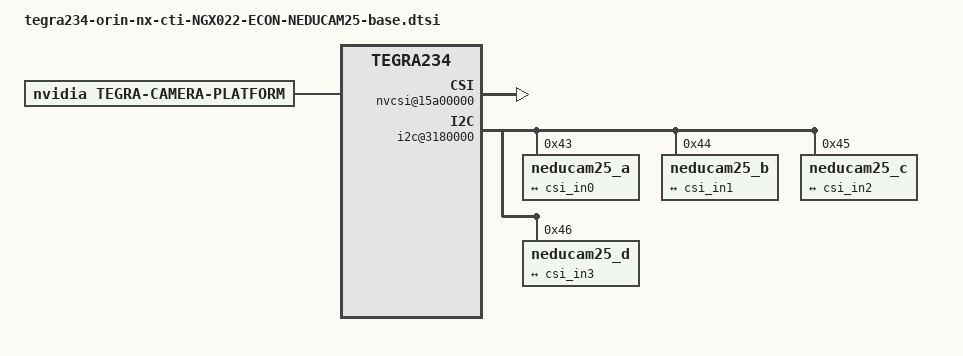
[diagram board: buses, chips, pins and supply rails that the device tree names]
/*
 * Copyright (c) 2024, Connect Tech Inc.  All rights reserved.
 *
 * This program is free software; you can redistribute it and/or modify it
 * under the terms and conditions of the GNU General Public License,
 * version 2, as published by the Free Software Foundation.
 *
 * This program is distributed in the hope it will be useful, but WITHOUT
 * ANY WARRANTY; without even the implied warranty of MERCHANTABILITY or
 * FITNESS FOR A PARTICULAR PURPOSE.  See the GNU General Public License for
 * more details.
 *
 * You should have received a copy of the GNU General Public License
 * along with this program.  If not, see <http://www.gnu.org/licenses/>.
 */

#include "dt-bindings/clock/tegra234-clock.h"
#include "tegra234-orin-nx-cti-econ-neducam25-modes-header.dtsi"

//To do add device tree parameter to allow for remote switching of reset pin... Required for NGX022!

#define VC_ID0 "0"
#define VC_ID1 "1"
#define VC_ID0_PORTS 0 
#define VC_ID1_PORTS 1
#define NUM_LANES "4"
/ {
    tegra-capture-vi {
        status = "okay";
        num-channels = <4>;
        ports {
	    #address-cells = <1>;
	    #size-cells = <0>;
	    status = "okay";
            port@0 {
		reg = <0>;
                status = "okay";
                vi_in0: endpoint {
		            vc-id = <VC_ID0_PORTS>;
                    port-index = <2>;
                    status = "okay";
                    bus-width = <4>;
		    remote-endpoint = <&csi_out0>;
                };
            };
            port@1 {
                status = "okay";
                reg = <1>;
                vi_in1: endpoint {
                    vc-id = <VC_ID1_PORTS>;
                    port-index = <2>;
                    status = "okay";
                    bus-width = <4>;
                    remote-endpoint = <&csi_out1>;
                };
            };
            port@2 {
                status = "okay";
                reg = <2>;
                vi_in2: endpoint {
                    vc-id = <VC_ID0_PORTS>;
                    port-index = <0>;
                    status = "okay";
                    bus-width = <4>;
                    remote-endpoint = <&csi_out2>;
                };
                
            };
            port@3 {
                status = "okay";
                reg = <3>;
                vi_in3: endpoint {
                    vc-id = <VC_ID1_PORTS>;
                    port-index = <0>;
                    status = "okay";
                    bus-width = <4>;
                    remote-endpoint = <&csi_out3>;
                };

            };


    };
    };

    host1x@13e00000 {
        nvcsi@15a00000 {
	    num-channels = <4>;
	    #address-cells = <1>;
	    #size-cells = <0>;
            status = "okay";
            channel@0 {
                status = "okay";
		        reg = <0>;
                ports {
		            #address-cells = <1>;
		            #size-cells = <0>;
                    port@0 {
                        status = "okay";
		            	reg = <0>;
                        csi_in0: endpoint@0 {
                            status = "okay";
                            port-index = <2>;
			                bus-width = <4>;
                            remote-endpoint = <&cam_out0>;
                        };
                    };
                    port@1 {
                        status = "okay";
		            	reg = <1>;
                        csi_out0: endpoint@1 {
                            status = "okay";
			                port-index = <2>;
			                bus-width = <4>;
			                remote-endpoint = <&vi_in0>;
                        };
                    };
                };
            };
            channel@1 {
                status = "okay";
            reg = <1>;
            ports {
                #address-cells = <1>;
                #size-cells = <0>;

                port@0 {
                            reg = <0>;
                            status = "okay";
                            csi_in1: endpoint@2 {
                                status = "okay";
                                port-index = <2>;
                                bus-width = <4>;
                                remote-endpoint = <&cam_out1>;
                            };
                        };
                        port@1 {
                            status = "okay";
                              reg = <1>;
                            csi_out1: endpoint@3 {
                                status = "okay";
                    port-index = <2>;
                    bus-width = <4>;
                    remote-endpoint = <&vi_in1>;
                            };
                        };
                    };
                };
            channel@2 {
                status = "okay";
            reg = <2>;
            ports {
                #address-cells = <1>;
                #size-cells = <0>;

                port@0 {
                            reg = <0>;
                            status = "okay";
                            csi_in2: endpoint@4 {
                                status = "okay";
                                port-index = <0>;
                                bus-width = <4>;
                                remote-endpoint = <&cam_out2>;
                            };
                        };
                        port@1 {
                            status = "okay";
                              reg = <1>;
                            csi_out2: endpoint@5 {
                                status = "okay";
                    port-index = <0>;
                    bus-width = <4>;
                    remote-endpoint = <&vi_in2>;
                            };
                        };
                    };
                };
            channel@3{
                status = "okay";
            reg = <3>;
            ports {
                #address-cells = <1>;
                #size-cells = <0>;

                port@0 {
                            reg = <0>;
                            status = "okay";
                            csi_in3: endpoint@6 {
                                status = "okay";
                                port-index = <0>;
                                bus-width = <4>;
                                remote-endpoint = <&cam_out3>;
                            };
                        };
                        port@1 {
                            status = "okay";
                              reg = <1>;
                            csi_out3: endpoint@7 {
                                status = "okay";
                    port-index = <0>;
                    bus-width = <4>;
                    remote-endpoint = <&vi_in3>;
                            };
                        };
                    };
                };

            };
    };


    i2c@3180000 {
        status = "okay";
        #address-cells = <1>;
        #size-cells = <0>;
        neducam25_a@43 {
            SENSOR_COMMON
            devnode = "video0";
            reg = <0x43>;
            software-reset-en; //use software reset instead of hardware reset
            camera_mipi_lanes = <4>;
            deser-addr = <0x30>;
            ser-alias = <0x21>;
            expander-alias = <0x50>;
            sio-port = "A";

#define TEGRA_SINTERFACE "serial_c" 
#define LANE_POLARITY   "0"
#define LOCAL_VC_ID VC_ID0
            
            SENSOR_MODE0
            SENSOR_MODE1
            SENSOR_MODE2

            ports{
                #address-cells = <1>;
                #size-cells = <0>;
                port@0 {
                    reg = <0>;
                    cam_out0: endpoint {
                        port-index = <2>;
                        bus-width = <4>;
                        vc-id = <0>;
                        remote-endpoint = <&csi_in0>;
                    };
                };
            };
        };
        neducam25_b@44 {
            SENSOR_COMMON
            devnode = "video1";
            reg = <0x44>;
            software-reset-en; //use software reset instead of hardware reset
            camera_mipi_lanes = <4>;
            deser-addr = <0x30>;
            ser-alias = <0x22>;
            expander-alias = <0x51>;
            sio-port = "B";

#undef LOCAL_VC_ID
#define LOCAL_VC_ID VC_ID1

                SENSOR_MODE0
                SENSOR_MODE1
                SENSOR_MODE2


            ports{
                #address-cells = <1>;
                #size-cells = <0>;
                port@0 {
                    reg = <0>;
                    cam_out1: endpoint {
                        port-index = <2>;
                        bus-width = <4>;
                        vc-id = <1>;
                        remote-endpoint = <&csi_in1>;
                    };
                };
            };
        };

        neducam25_c@45 {
            SENSOR_COMMON
            devnode = "video2";
            reg = <0x45>;
            software-reset-en; //use software reset instead of hardware reset
            camera_mipi_lanes = <4>;
            deser-addr = <0x34>;
            ser-alias = <0x23>;
            expander-alias = <0x52>;
            sio-port = "A";

#undef LOCAL_VC_ID
#define LOCAL_VC_ID VC_ID0
#undef TEGRA_SINTERFACE
#undef LANE_POLARITY
#define TEGRA_SINTERFACE "serial_a" 
#define LANE_POLARITY "6"
                SENSOR_MODE0
                SENSOR_MODE1
                SENSOR_MODE2


            ports{
                #address-cells = <1>;
                #size-cells = <0>;
                port@0 {
                    reg = <0>;
                    cam_out2: endpoint {
                        port-index = <0>;
                        bus-width = <4>;
                        vc-id = <0>;
                        remote-endpoint = <&csi_in2>;
                    };
                };
            };
        };
        neducam25_d@46 {
            SENSOR_COMMON
            devnode = "video3";
            reg = <0x46>;
            software-reset-en; //use software reset instead of hardware reset
            camera_mipi_lanes = <4>;
            deser-addr = <0x34>;
            ser-alias = <0x24>;
            expander-alias = <0x53>;
            sio-port = "B";

#undef LOCAL_VC_ID
#define LOCAL_VC_ID VC_ID1

                SENSOR_MODE0
                SENSOR_MODE1
                SENSOR_MODE2

            ports{
                #address-cells = <1>;
                #size-cells = <0>;
                port@0 {
                    reg = <0>;
                    cam_out3: endpoint {
                        port-index = <0>;
                        bus-width = <4>;
                        vc-id = <1>;
                        remote-endpoint = <&csi_in3>;
                    };
                };
            };
        };
         

    };



    tegra-camera-platform {
        num_csi_lanes = <8>;
        max_lane_speed = <1500000>;
        min_bits_per_pixel = <10>;
        vi_peak_byte_per_pixel = <2>;
        vi_bw_margin_pct = <25>;
        isp_peak_byte_per_pixel = <5>;
        isp_bw_margin_pct = <25>;
	compatible = "nvidia, tegra-camera-platform";
	status = "okay";
        
	modules {
        module0 {
            status = "okay";
            badge = "neducam25_top";
            position = "top";
            orientation = "1";
            drivernode0 {
                status = "okay";
                pcl_id = "v4l2_sensor";
                devname = "neducam25 8-0043";
                proc-device-tree = "/proc/device-tree/i2c@3180000/neducam25_a@43";
            };
        };

        module1 {
                status = "okay";
                badge = "neducam25_center";
                position = "center";
                orientation = "1";
                drivernode0 {
                status = "okay";
                pcl_id = "v4l2_sensor";
                devname = "neducam25 8-0044";
                proc-device-tree = "/proc/device-tree/i2c@3180000/neducam25_b@44";
            };
        };

        module2 {
            status = "okay";
            badge = "neducam25_bottom";
            position = "bottom";
            orientation = "1";
            drivernode0 {
                status = "okay";
                pcl_id = "v4l2_sensor";
                devname = "neducam25 8-0045";
                proc-device-tree = "/proc/device-tree/i2c@3180000/neducam25_c@45";
            };
        };
        module3 {
            status = "okay";
            badge = "neducam25_centerleft";
            position = "center-left";
            orientation = "1";
            drivernode0 {
                pcl_id = "v4l2_sensor";
                devname = "neducam25 8-0046";
                proc-device-tree = "/proc/device-tree/i2c@3180000/neducam25_d@46";
            };
        };

        };
    };
};
